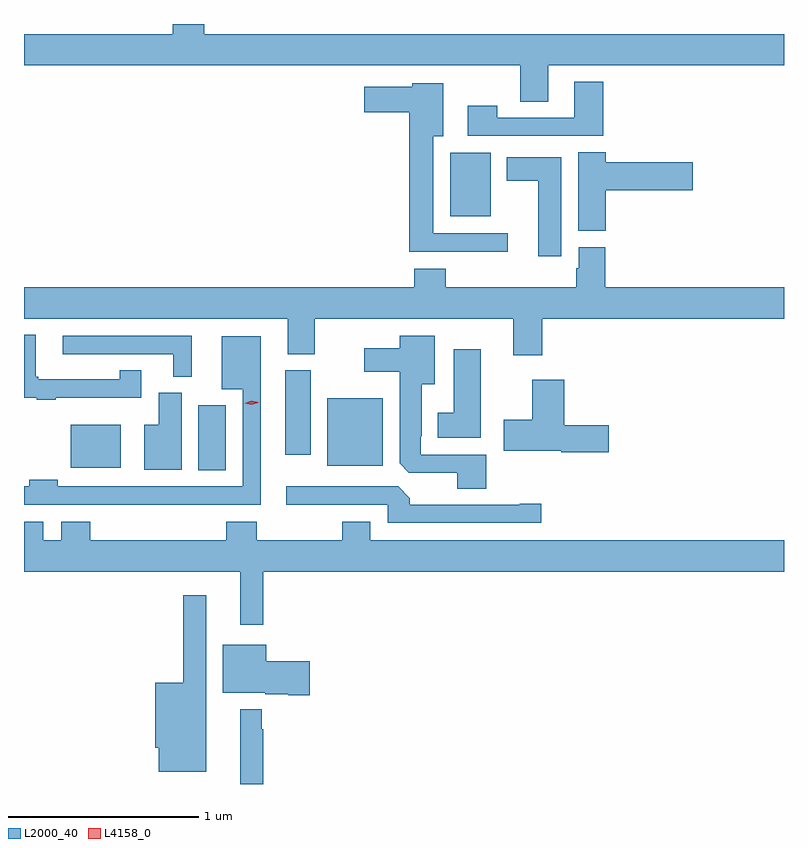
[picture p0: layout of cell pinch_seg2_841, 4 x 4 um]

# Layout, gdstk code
import gdstk
lib = gdstk.Library(unit=1e-6, precision=1e-09)
def R(c, l, rs):  # rectangles x0, y0, x1, y1
    for r in rs: c.add(gdstk.rectangle(r[:2], r[2:], *l))
def P(c, l, *ps):  # polygons
    for p in ps: c.add(gdstk.Polygon(p, *l))
L2000_40 = (2000, 40)
L4158_0 = (4158, 0)

pinch_seg2_841 = lib.new_cell('pinch_seg2_841')
R(pinch_seg2_841, L2000_40, [(578.714,585.565,578.857,585.907), (578.042,585.578,578.305,585.805), (579.392,585.59,579.685,585.943), (579.17,585.648,579.304,586.092), (580.04,586.901,580.252,587.236)])
P(pinch_seg2_841, L2000_40, [(580.555,587.696),(581.796,587.696),(581.796,587.86),(578.744,587.86),(578.744,587.914),(578.579,587.914),(578.579,587.86),(577.796,587.86),(577.796,587.696),(580.408,587.696),(580.408,587.506),(580.555,587.506)],
  [(580.844,587.611),(580.691,587.611),(580.691,587.421),(580.287,587.421),(580.287,587.485),(580.131,587.485),(580.131,587.325),(580.844,587.325)],
  [(580.342,586.812),(579.949,586.812),(579.949,587.324),(580.003,587.324),(580.003,587.602),(579.84,587.602),(579.84,587.584),(579.588,587.584),(579.588,587.45),(579.824,587.45),(579.824,586.715),(580.342,586.715)],
  [(580.859,587.039),(581.317,587.039),(581.317,587.186),(580.859,587.186),(580.859,587.24),(580.712,587.24),(580.712,586.825),(580.859,586.825)],
  [(580.624,587.212),(580.337,587.212),(580.337,587.09),(580.502,587.09),(580.502,586.692),(580.624,586.692)],
  [(580.523,586.364),(581.796,586.364),(581.796,586.528),(580.856,586.528),(580.856,586.74),(580.715,586.74),(580.715,586.629),(580.703,586.629),(580.703,586.528),(580.016,586.528),(580.016,586.627),(579.851,586.627),(579.851,586.528),(577.796,586.528),(577.796,586.364),(579.185,586.364),(579.185,586.177),(579.325,586.177),(579.325,586.364),(580.37,586.364),(580.37,586.17),(580.523,586.17)],
  [(577.964,585.947),(578.413,585.947),(578.413,586.091),(578.3,586.091),(578.3,586.045),(577.87,586.045),(577.87,586.057),(577.858,586.057),(577.858,586.279),(577.796,586.279),(577.796,585.947),(577.864,585.947),(577.864,585.936),(577.964,585.936)],
  [(580.229,585.648),(579.885,585.648),(579.885,585.745),(579.889,585.745),(579.889,586.019),(579.958,586.019),(579.958,586.273),(579.773,586.273),(579.773,586.207),(579.588,586.207),(579.588,586.085),(579.773,586.085),(579.773,585.601),(579.822,585.552),(580.076,585.552),(580.076,585.469),(580.229,585.469)],
  [(578.68,586.272),(578.001,586.272),(578.001,586.176),(578.582,586.176),(578.582,586.057),(578.68,586.057)],
  [(578.777,585.384),(579.042,585.384),(579.042,586.27),(578.837,586.27),(578.837,585.992),(578.946,585.992),(578.946,585.48),(577.974,585.48),(577.974,585.516),(577.824,585.516),(577.824,585.48),(577.796,585.48),(577.796,585.384),(578.227,585.384),(578.227,585.383),(578.777,585.383)],
  [(580.201,586.201),(580.058,586.201),(580.058,585.868),(579.974,585.868),(579.974,585.737),(580.201,585.737)],
  [(580.873,585.803),(580.64,585.803),(580.64,586.042),(580.472,586.042),(580.472,585.831),(580.32,585.831),(580.32,585.668),(580.623,585.668),(580.623,585.661),(580.873,585.661)],
  [(578.626,585.972),(578.504,585.972),(578.504,585.805),(578.429,585.805),(578.429,585.569),(578.626,585.569)],
  [(580.519,585.389),(580.406,585.389),(580.406,585.384),(579.827,585.384),(579.827,585.418),(579.765,585.48),(579.177,585.48),(579.177,585.384),(579.711,585.384),(579.711,585.288),(580.519,585.288)],
  [(579.055,585.032),(581.796,585.032),(581.796,585.196),(579.619,585.196),(579.619,585.295),(579.472,585.295),(579.472,585.196),(579.021,585.196),(579.021,585.295),(578.861,585.295),(578.861,585.196),(578.144,585.196),(578.144,585.295),(577.991,585.295),(577.991,585.196),(577.897,585.196),(577.897,585.295),(577.796,585.295),(577.796,585.032),(578.933,585.032),(578.933,584.751),(579.055,584.751)],
  [(578.755,584.908),(578.634,584.908),(578.634,584.446),(578.486,584.446),(578.486,584.106),(578.504,584.106),(578.504,583.979),(578.755,583.979)],
  [(579.301,584.559),(579.07,584.559),(579.07,584.647),(578.843,584.647),(578.843,584.393),(579.066,584.393),(579.066,584.387),(579.188,584.387),(579.188,584.381),(579.301,584.381)],
  [(579.055,584.201),(579.047,584.201),(579.047,584.308),(578.933,584.308),(578.933,583.914),(579.055,583.914)])
P(pinch_seg2_841, L4158_0, [(578.994,585.91),(578.959,585.919),(578.958,585.919),(578.959,585.919),(578.994,585.93),(579.03,585.922),(579.03,585.921),(579.03,585.921)])

lib.write_gds('pinch_seg2_841.gds')
